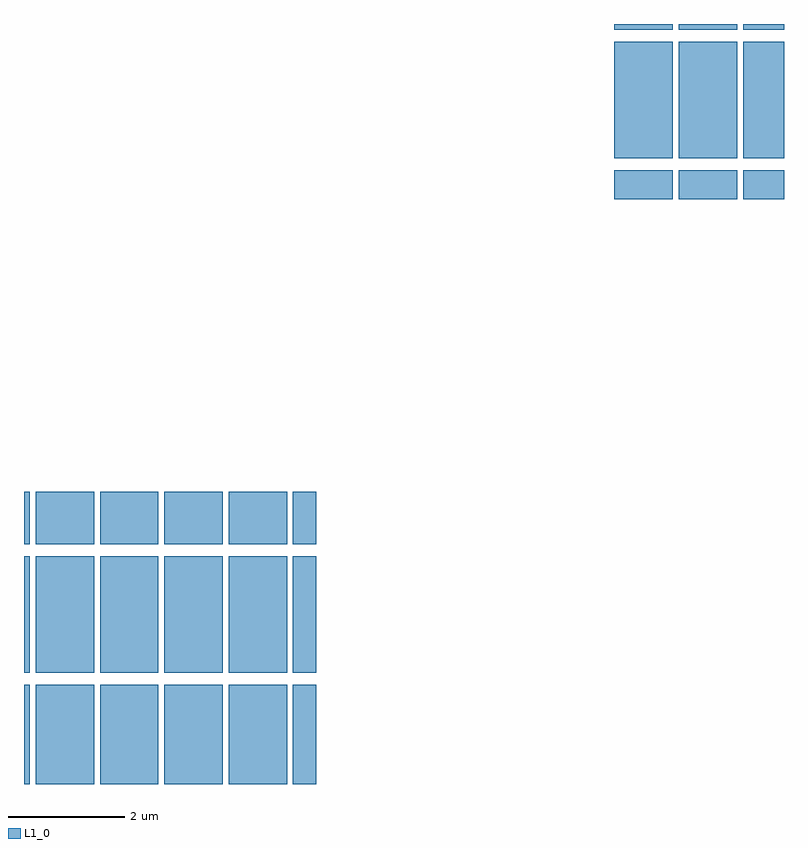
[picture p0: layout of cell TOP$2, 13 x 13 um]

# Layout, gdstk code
import gdstk
lib = gdstk.Library(unit=1e-6, precision=1e-09)
def R(c, l, rs):  # rectangles x0, y0, x1, y1
    for r in rs: c.add(gdstk.rectangle(r[:2], r[2:], *l))
def A(c, l, x, y, w, h, nx, ny, dx, dy):  # array of equal rectangles
    R(c, l, [(x+i*dx, y+j*dy, x+i*dx+w, y+j*dy+h) for i in range(nx) for j in range(ny)])
L1_0 = (1, 0)

top = lib.new_cell('TOP')
A(top, L1_0, 2.2, 2.5, 1, 1.7, 4, 1, 1.1, 0)
A(top, L1_0, 2.2, 4.4, 1, 2, 4, 1, 1.1, 0)
A(top, L1_0, 2.2, 6.6, 1, 0.9, 4, 1, 1.1, 0)
R(top, L1_0, [(2,2.5,2.1,4.2), (6.6,2.5,7,4.2), (2,4.4,2.1,6.4), (6.6,4.4,7,6.4), (2,6.6,2.1,7.5), (6.6,6.6,7,7.5)])

top_1 = lib.new_cell('TOP$1')
R(top_1, L1_0, [(12.1,12.5,13.1,13), (13.2,12.5,14.2,13), (14.3,12.5,15,13), (12.1,13.2,13.1,15.2), (13.2,13.2,14.2,15.2), (14.3,13.2,15,15.2), (12.1,15.4,13.1,15.5), (13.2,15.4,14.2,15.5), (14.3,15.4,15,15.5)])

top_2 = lib.new_cell('TOP$2')
top_2.add(gdstk.Reference(top, (0,0)))
top_2.add(gdstk.Reference(top_1, (0,0)))

lib.write_gds('TOP_2.gds')
